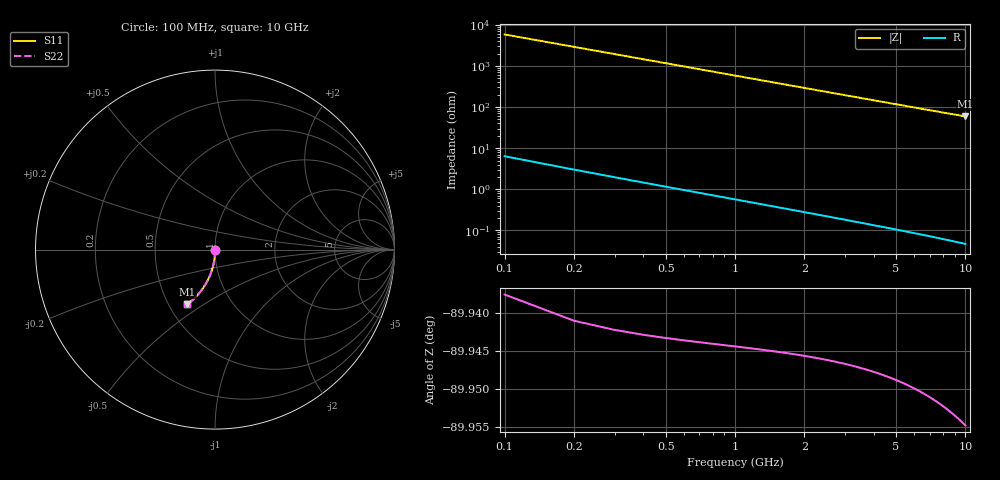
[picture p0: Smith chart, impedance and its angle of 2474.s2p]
# Hz S RI R 50.00
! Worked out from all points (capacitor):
!   100 points, 100 MHz to 10 GHz, reference 50 ohm
!   read as one part in shunt: C = 272 fF near 100 MHz
!   lowest |Z| = 59.2 ohm at 10 GHz (marker M1)
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1e8  0.000477 -0.00368  0.9995 -0.00487  0.9995 -0.00487  0.000477 -0.00368
2e8  0.000422 -0.00736  0.9994 -0.00974  0.9994 -0.00974  0.000422 -0.00736
3e8  0.000331 -0.011  0.9993 -0.0146  0.9993 -0.0146  0.000331 -0.011
4e8  0.000204 -0.0147  0.9992 -0.0195  0.9992 -0.0195  0.000204 -0.0147
5e8  3.99e-05 -0.0184  0.999 -0.0243  0.999 -0.0243  3.99e-05 -0.0184
6e8  -0.00016 -0.0221  0.9988 -0.0292  0.9988 -0.0292  -0.00016 -0.0221
7e8  -0.000395 -0.0257  0.9985 -0.0341  0.9985 -0.0341  -0.000395 -0.0257
8e8  -0.000667 -0.0294  0.9983 -0.0389  0.9983 -0.0389  -0.000667 -0.0294
9e8  -0.000974 -0.0331  0.9979 -0.0438  0.9979 -0.0438  -0.000974 -0.0331
1.1e9  -0.00169 -0.0404  0.9972 -0.0535  0.9972 -0.0535  -0.00169 -0.0404
1.4e9  -0.00304 -0.0513  0.9958 -0.068  0.9958 -0.068  -0.00304 -0.0513
1.8e9  -0.00533 -0.0658  0.9934 -0.0873  0.9934 -0.0873  -0.00533 -0.0658
2.1e9  -0.00742 -0.0766  0.9912 -0.1016  0.9912 -0.1016  -0.00742 -0.0766
2.5e9  -0.0107 -0.0909  0.9878 -0.1207  0.9878 -0.1207  -0.0107 -0.0909
2.9e9  -0.0145 -0.105  0.9839 -0.1396  0.9839 -0.1396  -0.0145 -0.105
3.4e9  -0.02 -0.1223  0.9781 -0.1629  0.9781 -0.1629  -0.02 -0.1223
4.2e9  -0.0304 -0.1493  0.9672 -0.1994  0.9672 -0.1994  -0.0304 -0.1493
5.1e9  -0.0445 -0.1784  0.9526 -0.2393  0.9526 -0.2393  -0.0445 -0.1784
5.9e9  -0.0588 -0.2029  0.9376 -0.2734  0.9376 -0.2734  -0.0588 -0.2029
6.7e9  -0.0748 -0.226  0.9208 -0.3061  0.9208 -0.3061  -0.0748 -0.226
8.4e9  -0.1134 -0.27  0.8804 -0.3706  0.8804 -0.3706  -0.1134 -0.27
1e10  -0.1541 -0.3045  0.8375 -0.4246  0.8375 -0.4246  -0.1541 -0.3045
